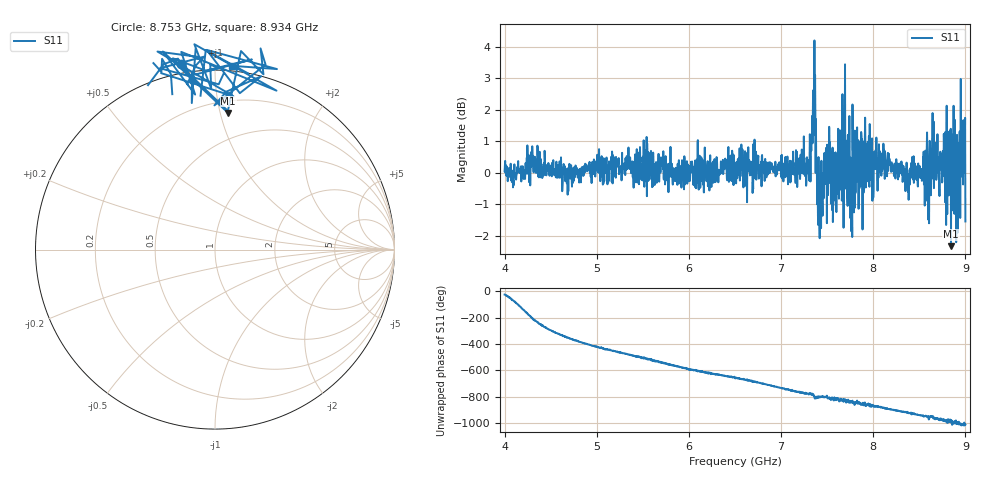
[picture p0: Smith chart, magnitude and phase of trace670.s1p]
! Created with skrf 1.8.0 (http://scikit-rf.org).
# Hz S RI R 50.0
!freq ReS11 ImS11
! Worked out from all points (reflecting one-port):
!   1601 points, 4 GHz to 9 GHz, reference 50 ohm
!   lowest |S11| = -2.3 dB at 8.844 GHz (marker M1), VSWR 7.51, Z = 14.4 + j52.9 ohm
!   phase of S11 starts at -26 deg and turns -985 deg over the sweep
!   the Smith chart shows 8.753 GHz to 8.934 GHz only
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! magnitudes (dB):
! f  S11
! 4 GHz  0.1
! 4.103 GHz  0.0
! 4.312 GHz  0.1
! 4.625 GHz  -0.6
! 5.25 GHz  0.1
! 5.875 GHz  -0.4
! 6.5 GHz  0.2
! 7.125 GHz  0.2
! 7.284 GHz  0.0
! 7.319 GHz  -0.3
! 7.347 GHz  2.6
! 7.372 GHz  1.9
! 7.4 GHz  -1.4
! 7.425 GHz  -0.3
! 7.509 GHz  -0.7
! 7.588 GHz  -0.5
! 7.669 GHz  1.1
! 7.75 GHz  -1.4
! 7.775 GHz  2.2
! 7.928 GHz  0.9
! 8.375 GHz  -0.4
! 8.562 GHz  0.4
! 8.584 GHz  1.3
! 8.656 GHz  1.6
! 8.844 GHz  -2.3
! 8.919 GHz  -1.1
! 8.972 GHz  0.2
! 9 GHz  -1.5
